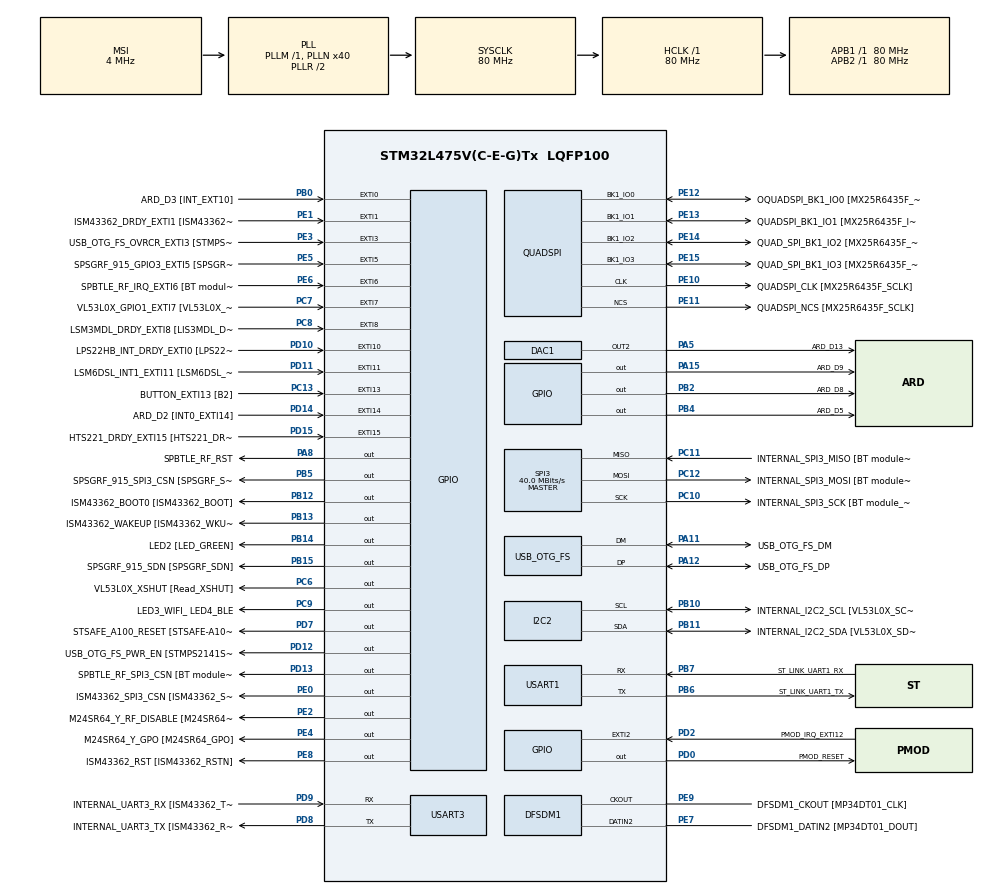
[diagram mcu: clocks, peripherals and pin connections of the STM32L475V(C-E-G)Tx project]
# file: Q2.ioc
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DAC1.DAC_Channel-DAC_OUT2=DAC_CHANNEL_2
DAC1.DAC_Trigger-DAC_OUT2=DAC_TRIGGER_NONE
Dma.Request0=USART1_TX
Dma.USART1_TX.0.Direction=DMA_MEMORY_TO_PERIPH
Dma.USART1_TX.0.Instance=DMA1_Channel4
Dma.USART1_TX.0.MemDataAlignment=DMA_MDATAALIGN_BYTE
Dma.USART1_TX.0.MemInc=DMA_MINC_ENABLE
Dma.USART1_TX.0.Mode=DMA_NORMAL
Dma.USART1_TX.0.PeriphDataAlignment=DMA_PDATAALIGN_BYTE
Dma.USART1_TX.0.PeriphInc=DMA_PINC_DISABLE
Dma.USART1_TX.0.Priority=DMA_PRIORITY_LOW
I2C2.Timing=0x10909CEC
Mcu.Family=STM32L4
Mcu.Name=STM32L475V(C-E-G)Tx
Mcu.Package=LQFP100
NVIC.DMA1_Channel4_IRQn=true\:0\:0\:false\:false\:true\:false\:true
NVIC.EXTI15_10_IRQn=true\:0\:0\:false\:false\:true\:true\:true
NVIC.EXTI9_5_IRQn=true\:0\:0\:false\:false\:true\:true\:true
NVIC.PriorityGroup=NVIC_PRIORITYGROUP_4
NVIC.TIM2_IRQn=true\:0\:0\:false\:false\:true\:true\:true
NVIC.USART1_IRQn=true\:0\:0\:false\:false\:true\:true\:true
PA10.GPIO_Label=USB_OTG_FS_ID
PA10.Signal=USB_OTG_FS_ID
PA11.GPIO_Label=USB_OTG_FS_DM
PA11.Mode=Device_Only
PA11.Signal=USB_OTG_FS_DM
PA12.GPIO_Label=USB_OTG_FS_DP
PA12.Mode=Device_Only
PA12.Signal=USB_OTG_FS_DP
PA13\ (JTMS-SWDIO).GPIO_Label=SYS_JTMS_SWDIO
PA13\ (JTMS-SWDIO).Mode=Serial_Wire
PA13\ (JTMS-SWDIO).Signal=SYS_JTMS-SWDIO
PA14\ (JTCK-SWCLK).GPIO_Label=SYS_JTCK_SWCLK
PA14\ (JTCK-SWCLK).Mode=Serial_Wire
PA14\ (JTCK-SWCLK).Signal=SYS_JTCK-SWCLK
PA15\ (JTDI).GPIO_Label=ARD_D9
PA15\ (JTDI).Signal=GPIO_Output
PA3.GPIO_Label=ARD_D4
PA3.Signal=S_TIM2_CH4
PA4.GPIO_Label=ARD_D7
PA4.Signal=ADCx_IN9
PA5.GPIO_Label=ARD_D13
PA5.Signal=COMP_DAC12_group
PA8.GPIO_Label=SPBTLE_RF_RST
PA8.Signal=GPIO_Output
PB0.GPIO_Label=ARD_D3 [INT_EXT10]
PB0.Signal=GPXTI0
PB1.GPIO_Label=ARD_D6 [ADC1_IN6]
PB1.Signal=ADCx_IN16
PB10.GPIO_Label=INTERNAL_I2C2_SCL [VL53L0X_SCL]
PB10.Mode=I2C
PB10.Signal=I2C2_SCL
PB11.GPIO_Label=INTERNAL_I2C2_SDA [VL53L0X_SDA]
PB11.Mode=I2C
PB11.Signal=I2C2_SDA
PB12.GPIO_Label=ISM43362_BOOT0 [ISM43362_BOOT]
PB12.Signal=GPIO_Output
PB13.GPIO_Label=ISM43362_WAKEUP [ISM43362_WKUP]
PB13.Signal=GPIO_Output
PB14.GPIO_Label=LED2 [LED_GREEN]
PB14.Signal=GPIO_Output
PB15.GPIO_Label=SPSGRF_915_SDN [SPSGRF_SDN]
PB15.Signal=GPIO_Output
PB2.GPIO_Label=ARD_D8
PB2.Signal=GPIO_Output
PB3\ (JTDO-TRACESWO).GPIO_Label=SYS_JTD0_SWO
PB3\ (JTDO-TRACESWO).Signal=SYS_JTDO-SWO
PB4\ (NJTRST).GPIO_Label=ARD_D5
PB4\ (NJTRST).Signal=GPIO_Output
PB5.GPIO_Label=SPSGRF_915_SPI3_CSN [SPSGRF_SPI_CS]
PB5.PinState=GPIO_PIN_SET
PB5.Signal=GPIO_Output
PB6.GPIO_Label=ST_LINK_UART1_TX
PB6.Mode=Asynchronous
PB6.Signal=USART1_TX
PB7.GPIO_Label=ST_LINK_UART1_RX
PB7.Mode=Asynchronous
PB7.Signal=USART1_RX
PB8.GPIO_Label=ARD_D15 [I2C1_SCL]
PB8.Signal=I2C1_SCL
PB9.GPIO_Label=ARD_D14 [I2C1_SDA]
PB9.Signal=I2C1_SDA
PC0.GPIO_Label=ARD_A5 [ADC]
PC0.Signal=ADCx_IN1
PC1.GPIO_Label=ARD_A4 [ADC]
PC1.Signal=ADCx_IN2
PC10.GPIO_Label=INTERNAL_SPI3_SCK [BT module_SPI_SCLK] [ISM43362_SCK]
PC10.Mode=Full_Duplex_Master
PC10.Signal=SPI3_SCK
PC11.GPIO_Label=INTERNAL_SPI3_MISO [BT module_SPI_MISO] [ISM43362_MISO]
PC11.Mode=Full_Duplex_Master
PC11.Signal=SPI3_MISO
PC12.GPIO_Label=INTERNAL_SPI3_MOSI [BT module_SPI_MOSI] [ISM43362_MOSI]
PC12.Mode=Full_Duplex_Master
PC12.Signal=SPI3_MOSI
PC13.GPIO_Label=BUTTON_EXTI13 [B2]
PC13.GPIO_ModeDefaultEXTI=GPIO_MODE_IT_FALLING
PC13.Signal=GPXTI13
PC14-OSC32_IN\ (PC14).Mode=LSE-External-Oscillator
PC14-OSC32_IN\ (PC14).Signal=RCC_OSC32_IN
PC15-OSC32_OUT\ (PC15).Mode=LSE-External-Oscillator
PC15-OSC32_OUT\ (PC15).Signal=RCC_OSC32_OUT
PC2.GPIO_Label=ARD_A3 [ADC]
PC2.Signal=ADCx_IN3
PC3.GPIO_Label=ARD_A2 [ADC]
PC3.Signal=ADCx_IN4
PC4.GPIO_Label=ARD_A1 [ADC]
PC4.Signal=ADCx_IN13
PC5.GPIO_Label=ARD_A0 [ADC]
PC5.Signal=ADCx_IN14
PC6.GPIO_Label=VL53L0X_XSHUT [Read_XSHUT]
PC6.Signal=GPIO_Output
PC7.GPIO_Label=VL53L0X_GPIO1_EXTI7 [VL53L0X_GPIO1]
PC7.Signal=GPXTI7
PC8.GPIO_Label=LSM3MDL_DRDY_EXTI8 [LIS3MDL_DRDY]
PC8.Signal=GPXTI8
PC9.GPIO_Label=LED3_WIFI_ LED4_BLE
PC9.Signal=GPIO_Output
PD0.GPIO_Label=PMOD_RESET
PD0.Signal=GPIO_Output
PD1.GPIO_Label=PMOD_SPI2_SCK
PD1.Signal=SPI2_SCK
PD10.GPIO_Label=LPS22HB_INT_DRDY_EXTI0 [LPS22HB_INT_DRDY] 
PD10.Signal=GPXTI10
PD11.GPIO_Label=LSM6DSL_INT1_EXTI11 [LSM6DSL_INT1]
PD11.Signal=GPXTI11
PD12.GPIO_Label=USB_OTG_FS_PWR_EN [STMPS2141STR_EN]
PD12.Signal=GPIO_Output
PD13.GPIO_Label=SPBTLE_RF_SPI3_CSN [BT module_SPI_CS]
PD13.PinState=GPIO_PIN_SET
PD13.Signal=GPIO_Output
PD14.GPIO_Label=ARD_D2 [INT0_EXTI14]
PD14.Signal=GPXTI14
PD15.GPIO_Label=HTS221_DRDY_EXTI15 [HTS221_DRDY]
PD15.Signal=GPXTI15
PD2.GPIO_Label=PMOD_IRQ_EXTI12
PD2.Signal=GPXTI2
PD3.GPIO_Label=PMOD_UART2_CTS
PD3.Signal=USART2_CTS
PD4.GPIO_Label=PMOD_UART2_RTS
PD4.Signal=USART2_RTS
PD5.GPIO_Label=PMOD_UART2_TX
PD5.Signal=USART2_TX
PD6.GPIO_Label=PMOD_UART2_RX
PD6.Signal=USART2_RX
PD7.GPIO_Label=STSAFE_A100_RESET [STSAFE-A100_RESET]
PD7.Signal=GPIO_Output
PD8.GPIO_Label=INTERNAL_UART3_TX [ISM43362_RX]
PD8.Mode=Asynchronous
PD8.Signal=USART3_TX
PD9.GPIO_Label=INTERNAL_UART3_RX [ISM43362_TX]
PD9.Mode=Asynchronous
PD9.Signal=USART3_RX
PE0.GPIO_Label=ISM43362_SPI3_CSN [ISM43362_SSN]
PE0.PinState=GPIO_PIN_SET
PE0.Signal=GPIO_Output
PE1.GPIO_Label=ISM43362_DRDY_EXTI1 [ISM43362_DATARDY]
PE1.Signal=GPXTI1
PE10.GPIO_Label=QUADSPI_CLK [MX25R6435F_SCLK]
PE10.Mode=Single Bank
PE10.Signal=QUADSPI_CLK
PE11.GPIO_Label=QUADSPI_NCS [MX25R6435F_SCLK]
PE11.Mode=Single Bank
PE11.Signal=QUADSPI_NCS
PE12.GPIO_Label=OQUADSPI_BK1_IO0 [MX25R6435F_IO0]
PE12.Mode=Single Bank
PE12.Signal=QUADSPI_BK1_IO0
PE13.GPIO_Label=QUADSPI_BK1_IO1 [MX25R6435F_IO1]
PE13.Mode=Single Bank
PE13.Signal=QUADSPI_BK1_IO1
PE14.GPIO_Label=QUAD_SPI_BK1_IO2 [MX25R6435F_IO2]
PE14.Mode=Single Bank
PE14.Signal=QUADSPI_BK1_IO2
PE15.GPIO_Label=QUAD_SPI_BK1_IO3 [MX25R6435F_IO3]
PE15.Mode=Single Bank
PE15.Signal=QUADSPI_BK1_IO3
PE2.GPIO_Label=M24SR64_Y_RF_DISABLE [M24SR64_RFDIS]
PE2.Signal=GPIO_Output
PE3.GPIO_Label=USB_OTG_FS_OVRCR_EXTI3 [STMPS2141STR_FAULT]
PE3.Signal=GPXTI3
PE4.GPIO_Label=M24SR64_Y_GPO [M24SR64_GPO]
PE4.Signal=GPIO_Output
PE5.GPIO_Label=SPSGRF_915_GPIO3_EXTI5 [SPSGRF_GPIO_3]
PE5.Signal=GPXTI5
PE6.GPIO_Label=SPBTLE_RF_IRQ_EXTI6 [BT module_SPI_IRQ]
PE6.Signal=GPXTI6
PE7.GPIO_Label=DFSDM1_DATIN2 [MP34DT01_DOUT]
PE7.Signal=S_DATAIN2DFSDM1
PE8.GPIO_Label=ISM43362_RST [ISM43362_RSTN]
PE8.Signal=GPIO_Output
PE9.GPIO_Label=DFSDM1_CKOUT [MP34DT01_CLK]
PE9.Signal=S_CKOUTDFSDM1
ProjectManager.HeapSize=0x200
ProjectManager.StackSize=0x400
ProjectManager.TargetToolchain=STM32CubeIDE
RCC.ADCFreq_Value=48000000
RCC.AHBFreq_Value=80000000
RCC.APB1Freq_Value=80000000
RCC.APB1TimFreq_Value=80000000
RCC.APB2Freq_Value=80000000
RCC.APB2TimFreq_Value=80000000
RCC.CortexFreq_Value=80000000
RCC.HCLKFreq_Value=80000000
RCC.HSE_VALUE=8000000
RCC.HSI_VALUE=16000000
RCC.MSI_VALUE=4000000
RCC.PLLN=40
RCC.PLLSAI1N=24
RCC.SYSCLKFreq_VALUE=80000000
RCC.SYSCLKSource=RCC_SYSCLKSOURCE_PLLCLK
RCC.USBFreq_Value=48000000
RCC.VCOOutputFreq_Value=160000000
SH.ADCx_IN1.0=ADC1_IN1
SH.ADCx_IN13.0=ADC1_IN13
SH.ADCx_IN14.0=ADC1_IN14
SH.ADCx_IN16.0=ADC1_IN16
SH.ADCx_IN2.0=ADC1_IN2
SH.ADCx_IN3.0=ADC1_IN3
SH.ADCx_IN4.0=ADC1_IN4
SH.ADCx_IN9.0=ADC1_IN9
SH.COMP_DAC12_group.0=DAC1_OUT2,DAC_OUT2
SH.S_CKOUTDFSDM1.0=DFSDM1_CKOUT,CKOUT
SH.S_CKOUTDFSDM1.1=DFSDM1_CKOUT,PDM_SPI_Input_from_ch12_and_Internal_Clock
SH.S_DATAIN2DFSDM1.0=DFSDM1_DATIN2,PDM_SPI_Input_from_ch12_and_Internal_Clock
SH.S_TIM2_CH4.0=TIM2_CH4
SPI3.CalculateBaudRate=40.0 MBits/s
SPI3.Direction=SPI_DIRECTION_2LINES
SPI3.Mode=SPI_MODE_MASTER
SPI3.VirtualType=VM_MASTER
TIM2.Period=99
TIM2.Prescaler=80
TIM2.TIM_MasterOutputTrigger=TIM_TRGO_RESET
USART1.VirtualMode-Asynchronous=VM_ASYNC
USART3.VirtualMode-Asynchronous=VM_ASYNC
USB_OTG_FS.VirtualMode=Device_Only
VP_TIM2_VS_ClockSourceINT.Mode=Internal
board=B-L475E-IOT01A1

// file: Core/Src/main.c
/* USER CODE BEGIN Header */
/**
 * *****************************************************************************
 * Name: Jonathan Dean
 * Assignment: Quiz 2
 * Program Summary:
 * This program generates waveforms When a button is pressed (PC13),
 * the program switches between different waveforms. When pressed
 * it cycles between a sine wave, square wave, and triangle wave.
 * *****************************************************************************
  ******************************************************************************
  * @file           : main.c
  * @brief          : Main program body
  ******************************************************************************
  * @attention
  *
  * <h2><center>&copy; Copyright (c) 2020 STMicroelectronics.
  * All rights reserved.</center></h2>
  *
  * This software component is licensed by ST under BSD 3-Clause license,
  * the "License"; You may not use this file except in compliance with the
  * License. You may obtain a copy of the License at:
  *                        opensource.org/licenses/BSD-3-Clause
  *
  ******************************************************************************
  */
/* USER CODE END Header */
#include "main.h"

/* USER CODE BEGIN Includes */
#include <stdint.h>
#include "Time.h" // Custom Time Library"
#include "DBG_UART.h"
#include "Waveform_Generator.h"
/* USER CODE END Includes */

/* USER CODE BEGIN PD */
#define BUTTON_DEBOUNCE_TIME_MS MS(100)
/* USER CODE END PD */

DAC_HandleTypeDef hdac1;

DFSDM_Channel_HandleTypeDef hdfsdm1_channel1;

I2C_HandleTypeDef hi2c2;

QSPI_HandleTypeDef hqspi;

SPI_HandleTypeDef hspi3;

TIM_HandleTypeDef htim2;

UART_HandleTypeDef huart1;
UART_HandleTypeDef huart3;
DMA_HandleTypeDef hdma_usart1_tx;

PCD_HandleTypeDef hpcd_USB_OTG_FS;

void SystemClock_Config(void);
static void MX_GPIO_Init(void);
static void MX_DMA_Init(void);
static void MX_DFSDM1_Init(void);
static void MX_I2C2_Init(void);
static void MX_QUADSPI_Init(void);
static void MX_SPI3_Init(void);
static void MX_USART1_UART_Init(void);
static void MX_USART3_UART_Init(void);
static void MX_USB_OTG_FS_PCD_Init(void);
static void MX_DAC1_Init(void);
static void MX_TIM2_Init(void);

int main(void)
{

  /* MCU Configuration--------------------------------------------------------*/

  /* Reset of all peripherals, Initializes the Flash interface and the Systick. */
  HAL_Init();

  /* Configure the system clock */
  SystemClock_Config();

  /* USER CODE BEGIN SysInit */
  Time_Init(); // initialize timer
  /* USER CODE END SysInit */

  /* Initialize all configured peripherals */
  MX_GPIO_Init();
  MX_DMA_Init();
  MX_DFSDM1_Init();
  MX_I2C2_Init();
  MX_QUADSPI_Init();
  MX_SPI3_Init();
  MX_USART1_UART_Init();
  MX_USART3_UART_Init();
  MX_USB_OTG_FS_PCD_Init();
  MX_DAC1_Init();
  MX_TIM2_Init();
  /* USER CODE BEGIN 2 */
  DBG_UART_Init();

  printf("Hello\n");

  HAL_TIM_Base_Start_IT(&htim2);
  WG_Init();

  /* USER CODE END 2 */

  /* Infinite loop */
  while (1)
  {

  }
}

void SystemClock_Config(void)
{
  RCC_OscInitTypeDef RCC_OscInitStruct = {0};
  RCC_ClkInitTypeDef RCC_ClkInitStruct = {0};
  RCC_PeriphCLKInitTypeDef PeriphClkInit = {0};

  /** Configure LSE Drive Capability
  */
  HAL_PWR_EnableBkUpAccess();
  __HAL_RCC_LSEDRIVE_CONFIG(RCC_LSEDRIVE_LOW);
  /** Initializes the RCC Oscillators according to the specified parameters
  * in the RCC_OscInitTypeDef structure.
  */
  RCC_OscInitStruct.OscillatorType = RCC_OSCILLATORTYPE_LSE|RCC_OSCILLATORTYPE_MSI;
  RCC_OscInitStruct.LSEState = RCC_LSE_ON;
  RCC_OscInitStruct.MSIState = RCC_MSI_ON;
  RCC_OscInitStruct.MSICalibrationValue = 0;
  RCC_OscInitStruct.MSIClockRange = RCC_MSIRANGE_6;
  RCC_OscInitStruct.PLL.PLLState = RCC_PLL_ON;
  RCC_OscInitStruct.PLL.PLLSource = RCC_PLLSOURCE_MSI;
  RCC_OscInitStruct.PLL.PLLM = 1;
  RCC_OscInitStruct.PLL.PLLN = 40;
  RCC_OscInitStruct.PLL.PLLP = RCC_PLLP_DIV7;
  RCC_OscInitStruct.PLL.PLLQ = RCC_PLLQ_DIV2;
  RCC_OscInitStruct.PLL.PLLR = RCC_PLLR_DIV2;
  if (HAL_RCC_OscConfig(&RCC_OscInitStruct) != HAL_OK)
  {
    Error_Handler();
  }
  /** Initializes the CPU, AHB and APB buses clocks
  */
  RCC_ClkInitStruct.ClockType = RCC_CLOCKTYPE_HCLK|RCC_CLOCKTYPE_SYSCLK
                              |RCC_CLOCKTYPE_PCLK1|RCC_CLOCKTYPE_PCLK2;
  RCC_ClkInitStruct.SYSCLKSource = RCC_SYSCLKSOURCE_PLLCLK;
  RCC_ClkInitStruct.AHBCLKDivider = RCC_SYSCLK_DIV1;
  RCC_ClkInitStruct.APB1CLKDivider = RCC_HCLK_DIV1;
  RCC_ClkInitStruct.APB2CLKDivider = RCC_HCLK_DIV1;

  if (HAL_RCC_ClockConfig(&RCC_ClkInitStruct, FLASH_LATENCY_4) != HAL_OK)
  {
    Error_Handler();
  }
  PeriphClkInit.PeriphClockSelection = RCC_PERIPHCLK_USART1|RCC_PERIPHCLK_USART3
                              |RCC_PERIPHCLK_I2C2|RCC_PERIPHCLK_DFSDM1
                              |RCC_PERIPHCLK_USB;
  PeriphClkInit.Usart1ClockSelection = RCC_USART1CLKSOURCE_PCLK2;
  PeriphClkInit.Usart3ClockSelection = RCC_USART3CLKSOURCE_PCLK1;
  PeriphClkInit.I2c2ClockSelection = RCC_I2C2CLKSOURCE_PCLK1;
  PeriphClkInit.Dfsdm1ClockSelection = RCC_DFSDM1CLKSOURCE_PCLK;
  PeriphClkInit.UsbClockSelection = RCC_USBCLKSOURCE_PLLSAI1;
  PeriphClkInit.PLLSAI1.PLLSAI1Source = RCC_PLLSOURCE_MSI;
  PeriphClkInit.PLLSAI1.PLLSAI1M = 1;
  PeriphClkInit.PLLSAI1.PLLSAI1N = 24;
  PeriphClkInit.PLLSAI1.PLLSAI1P = RCC_PLLP_DIV7;
  PeriphClkInit.PLLSAI1.PLLSAI1Q = RCC_PLLQ_DIV2;
  PeriphClkInit.PLLSAI1.PLLSAI1R = RCC_PLLR_DIV2;
  PeriphClkInit.PLLSAI1.PLLSAI1ClockOut = RCC_PLLSAI1_48M2CLK;
  if (HAL_RCCEx_PeriphCLKConfig(&PeriphClkInit) != HAL_OK)
  {
    Error_Handler();
  }
  /** Configure the main internal regulator output voltage
  */
  if (HAL_PWREx_ControlVoltageScaling(PWR_REGULATOR_VOLTAGE_SCALE1) != HAL_OK)
  {
    Error_Handler();
  }
  /** Enable MSI Auto calibration
  */
  HAL_RCCEx_EnableMSIPLLMode();
}

static void MX_DAC1_Init(void)
{

  DAC_ChannelConfTypeDef sConfig = {0};

  /** DAC Initialization
  */
  hdac1.Instance = DAC1;
  if (HAL_DAC_Init(&hdac1) != HAL_OK)
  {
    Error_Handler();
  }
  /** DAC channel OUT2 config
  */
  sConfig.DAC_SampleAndHold = DAC_SAMPLEANDHOLD_DISABLE;
  sConfig.DAC_Trigger = DAC_TRIGGER_NONE;
  sConfig.DAC_OutputBuffer = DAC_OUTPUTBUFFER_ENABLE;
  sConfig.DAC_ConnectOnChipPeripheral = DAC_CHIPCONNECT_DISABLE;
  sConfig.DAC_UserTrimming = DAC_TRIMMING_FACTORY;
  if (HAL_DAC_ConfigChannel(&hdac1, &sConfig, DAC_CHANNEL_2) != HAL_OK)
  {
    Error_Handler();
  }

}

static void MX_DFSDM1_Init(void)
{

  hdfsdm1_channel1.Instance = DFSDM1_Channel1;
  hdfsdm1_channel1.Init.OutputClock.Activation = ENABLE;
  hdfsdm1_channel1.Init.OutputClock.Selection = DFSDM_CHANNEL_OUTPUT_CLOCK_SYSTEM;
  hdfsdm1_channel1.Init.OutputClock.Divider = 2;
  hdfsdm1_channel1.Init.Input.Multiplexer = DFSDM_CHANNEL_EXTERNAL_INPUTS;
  hdfsdm1_channel1.Init.Input.DataPacking = DFSDM_CHANNEL_STANDARD_MODE;
  hdfsdm1_channel1.Init.Input.Pins = DFSDM_CHANNEL_FOLLOWING_CHANNEL_PINS;
  hdfsdm1_channel1.Init.SerialInterface.Type = DFSDM_CHANNEL_SPI_RISING;
  hdfsdm1_channel1.Init.SerialInterface.SpiClock = DFSDM_CHANNEL_SPI_CLOCK_INTERNAL;
  hdfsdm1_channel1.Init.Awd.FilterOrder = DFSDM_CHANNEL_FASTSINC_ORDER;
  hdfsdm1_channel1.Init.Awd.Oversampling = 1;
  hdfsdm1_channel1.Init.Offset = 0;
  hdfsdm1_channel1.Init.RightBitShift = 0x00;
  if (HAL_DFSDM_ChannelInit(&hdfsdm1_channel1) != HAL_OK)
  {
    Error_Handler();
  }

}

static void MX_I2C2_Init(void)
{

  hi2c2.Instance = I2C2;
  hi2c2.Init.Timing = 0x10909CEC;
  hi2c2.Init.OwnAddress1 = 0;
  hi2c2.Init.AddressingMode = I2C_ADDRESSINGMODE_7BIT;
  hi2c2.Init.DualAddressMode = I2C_DUALADDRESS_DISABLE;
  hi2c2.Init.OwnAddress2 = 0;
  hi2c2.Init.OwnAddress2Masks = I2C_OA2_NOMASK;
  hi2c2.Init.GeneralCallMode = I2C_GENERALCALL_DISABLE;
  hi2c2.Init.NoStretchMode = I2C_NOSTRETCH_DISABLE;
  if (HAL_I2C_Init(&hi2c2) != HAL_OK)
  {
    Error_Handler();
  }
  /** Configure Analogue filter
  */
  if (HAL_I2CEx_ConfigAnalogFilter(&hi2c2, I2C_ANALOGFILTER_ENABLE) != HAL_OK)
  {
    Error_Handler();
  }
  /** Configure Digital filter
  */
  if (HAL_I2CEx_ConfigDigitalFilter(&hi2c2, 0) != HAL_OK)
  {
    Error_Handler();
  }

}

static void MX_QUADSPI_Init(void)
{

  /* QUADSPI parameter configuration*/
  hqspi.Instance = QUADSPI;
  hqspi.Init.ClockPrescaler = 255;
  hqspi.Init.FifoThreshold = 1;
  hqspi.Init.SampleShifting = QSPI_SAMPLE_SHIFTING_NONE;
  hqspi.Init.FlashSize = 1;
  hqspi.Init.ChipSelectHighTime = QSPI_CS_HIGH_TIME_1_CYCLE;
  hqspi.Init.ClockMode = QSPI_CLOCK_MODE_0;
  if (HAL_QSPI_Init(&hqspi) != HAL_OK)
  {
    Error_Handler();
  }

}

static void MX_SPI3_Init(void)
{

  /* SPI3 parameter configuration*/
  hspi3.Instance = SPI3;
  hspi3.Init.Mode = SPI_MODE_MASTER;
  hspi3.Init.Direction = SPI_DIRECTION_2LINES;
  hspi3.Init.DataSize = SPI_DATASIZE_4BIT;
  hspi3.Init.CLKPolarity = SPI_POLARITY_LOW;
  hspi3.Init.CLKPhase = SPI_PHASE_1EDGE;
  hspi3.Init.NSS = SPI_NSS_SOFT;
  hspi3.Init.BaudRatePrescaler = SPI_BAUDRATEPRESCALER_2;
  hspi3.Init.FirstBit = SPI_FIRSTBIT_MSB;
  hspi3.Init.TIMode = SPI_TIMODE_DISABLE;
  hspi3.Init.CRCCalculation = SPI_CRCCALCULATION_DISABLE;
  hspi3.Init.CRCPolynomial = 7;
  hspi3.Init.CRCLength = SPI_CRC_LENGTH_DATASIZE;
  hspi3.Init.NSSPMode = SPI_NSS_PULSE_ENABLE;
  if (HAL_SPI_Init(&hspi3) != HAL_OK)
  {
    Error_Handler();
  }

}

static void MX_TIM2_Init(void)
{

  TIM_ClockConfigTypeDef sClockSourceConfig = {0};
  TIM_MasterConfigTypeDef sMasterConfig = {0};

  htim2.Instance = TIM2;
  htim2.Init.Prescaler = 80;
  htim2.Init.CounterMode = TIM_COUNTERMODE_UP;
  htim2.Init.Period = 99;
  htim2.Init.ClockDivision = TIM_CLOCKDIVISION_DIV1;
  htim2.Init.AutoReloadPreload = TIM_AUTORELOAD_PRELOAD_DISABLE;
  if (HAL_TIM_Base_Init(&htim2) != HAL_OK)
  {
    Error_Handler();
  }
  sClockSourceConfig.ClockSource = TIM_CLOCKSOURCE_INTERNAL;
  if (HAL_TIM_ConfigClockSource(&htim2, &sClockSourceConfig) != HAL_OK)
  {
    Error_Handler();
  }
  sMasterConfig.MasterOutputTrigger = TIM_TRGO_RESET;
  sMasterConfig.MasterSlaveMode = TIM_MASTERSLAVEMODE_DISABLE;
  if (HAL_TIMEx_MasterConfigSynchronization(&htim2, &sMasterConfig) != HAL_OK)
  {
    Error_Handler();
  }

}

static void MX_USART1_UART_Init(void)
{

  huart1.Instance = USART1;
  huart1.Init.BaudRate = 115200;
  huart1.Init.WordLength = UART_WORDLENGTH_8B;
  huart1.Init.StopBits = UART_STOPBITS_1;
  huart1.Init.Parity = UART_PARITY_NONE;
  huart1.Init.Mode = UART_MODE_TX_RX;
  huart1.Init.HwFlowCtl = UART_HWCONTROL_NONE;
  huart1.Init.OverSampling = UART_OVERSAMPLING_16;
  huart1.Init.OneBitSampling = UART_ONE_BIT_SAMPLE_DISABLE;
  huart1.AdvancedInit.AdvFeatureInit = UART_ADVFEATURE_NO_INIT;
  if (HAL_UART_Init(&huart1) != HAL_OK)
  {
    Error_Handler();
  }

}

static void MX_USART3_UART_Init(void)
{

  huart3.Instance = USART3;
  huart3.Init.BaudRate = 115200;
  huart3.Init.WordLength = UART_WORDLENGTH_8B;
  huart3.Init.StopBits = UART_STOPBITS_1;
  huart3.Init.Parity = UART_PARITY_NONE;
  huart3.Init.Mode = UART_MODE_TX_RX;
  huart3.Init.HwFlowCtl = UART_HWCONTROL_NONE;
  huart3.Init.OverSampling = UART_OVERSAMPLING_16;
  huart3.Init.OneBitSampling = UART_ONE_BIT_SAMPLE_DISABLE;
  huart3.AdvancedInit.AdvFeatureInit = UART_ADVFEATURE_NO_INIT;
  if (HAL_UART_Init(&huart3) != HAL_OK)
  {
    Error_Handler();
  }

}

static void MX_USB_OTG_FS_PCD_Init(void)
{

  hpcd_USB_OTG_FS.Instance = USB_OTG_FS;
  hpcd_USB_OTG_FS.Init.dev_endpoints = 6;
  hpcd_USB_OTG_FS.Init.speed = PCD_SPEED_FULL;
  hpcd_USB_OTG_FS.Init.phy_itface = PCD_PHY_EMBEDDED;
  hpcd_USB_OTG_FS.Init.Sof_enable = DISABLE;
  hpcd_USB_OTG_FS.Init.low_power_enable = DISABLE;
  hpcd_USB_OTG_FS.Init.lpm_enable = DISABLE;
  hpcd_USB_OTG_FS.Init.battery_charging_enable = DISABLE;
  hpcd_USB_OTG_FS.Init.use_dedicated_ep1 = DISABLE;
  hpcd_USB_OTG_FS.Init.vbus_sensing_enable = DISABLE;
  if (HAL_PCD_Init(&hpcd_USB_OTG_FS) != HAL_OK)
  {
    Error_Handler();
  }

}

static void MX_DMA_Init(void)
{

  /* DMA controller clock enable */
  __HAL_RCC_DMA1_CLK_ENABLE();

  /* DMA interrupt init */
  /* DMA1_Channel4_IRQn interrupt configuration */
  HAL_NVIC_SetPriority(DMA1_Channel4_IRQn, 0, 0);
  HAL_NVIC_EnableIRQ(DMA1_Channel4_IRQn);

}

static void MX_GPIO_Init(void)
{
  GPIO_InitTypeDef GPIO_InitStruct = {0};

  /* GPIO Ports Clock Enable */
  __HAL_RCC_GPIOE_CLK_ENABLE();
  __HAL_RCC_GPIOC_CLK_ENABLE();
  __HAL_RCC_GPIOH_CLK_ENABLE();
  __HAL_RCC_GPIOA_CLK_ENABLE();
  __HAL_RCC_GPIOB_CLK_ENABLE();
  __HAL_RCC_GPIOD_CLK_ENABLE();

  /*Configure GPIO pin Output Level */
  HAL_GPIO_WritePin(GPIOE, M24SR64_Y_RF_DISABLE_Pin|M24SR64_Y_GPO_Pin|ISM43362_RST_Pin, GPIO_PIN_RESET);

  /*Configure GPIO pin Output Level */
  HAL_GPIO_WritePin(GPIOB, ARD_D8_Pin|ISM43362_BOOT0_Pin|ISM43362_WAKEUP_Pin|LED2_Pin
                          |SPSGRF_915_SDN_Pin|ARD_D5_Pin, GPIO_PIN_RESET);

  /*Configure GPIO pin Output Level */
  HAL_GPIO_WritePin(GPIOD, USB_OTG_FS_PWR_EN_Pin|PMOD_RESET_Pin|STSAFE_A100_RESET_Pin, GPIO_PIN_RESET);

  /*Configure GPIO pin Output Level */
  HAL_GPIO_WritePin(SPBTLE_RF_SPI3_CSN_GPIO_Port, SPBTLE_RF_SPI3_CSN_Pin, GPIO_PIN_SET);

  /*Configure GPIO pin Output Level */
  HAL_GPIO_WritePin(GPIOC, VL53L0X_XSHUT_Pin|LED3_WIFI__LED4_BLE_Pin, GPIO_PIN_RESET);

  /*Configure GPIO pin Output Level */
  HAL_GPIO_WritePin(GPIOA, SPBTLE_RF_RST_Pin|ARD_D9_Pin, GPIO_PIN_RESET);

  /*Configure GPIO pin Output Level */
  HAL_GPIO_WritePin(SPSGRF_915_SPI3_CSN_GPIO_Port, SPSGRF_915_SPI3_CSN_Pin, GPIO_PIN_SET);

  /*Configure GPIO pin Output Level */
  HAL_GPIO_WritePin(ISM43362_SPI3_CSN_GPIO_Port, ISM43362_SPI3_CSN_Pin, GPIO_PIN_SET);

  /*Configure GPIO pins : M24SR64_Y_RF_DISABLE_Pin M24SR64_Y_GPO_Pin ISM43362_RST_Pin ISM43362_SPI3_CSN_Pin */
  GPIO_InitStruct.Pin = M24SR64_Y_RF_DISABLE_Pin|M24SR64_Y_GPO_Pin|ISM43362_RST_Pin|ISM43362_SPI3_CSN_Pin;
  GPIO_InitStruct.Mode = GPIO_MODE_OUTPUT_PP;
  GPIO_InitStruct.Pull = GPIO_NOPULL;
  GPIO_InitStruct.Speed = GPIO_SPEED_FREQ_LOW;
  HAL_GPIO_Init(GPIOE, &GPIO_InitStruct);

  /*Configure GPIO pins : USB_OTG_FS_OVRCR_EXTI3_Pin SPSGRF_915_GPIO3_EXTI5_Pin SPBTLE_RF_IRQ_EXTI6_Pin ISM43362_DRDY_EXTI1_Pin */
  GPIO_InitStruct.Pin = USB_OTG_FS_OVRCR_EXTI3_Pin|SPSGRF_915_GPIO3_EXTI5_Pin|SPBTLE_RF_IRQ_EXTI6_Pin|ISM43362_DRDY_EXTI1_Pin;
  GPIO_InitStruct.Mode = GPIO_MODE_IT_RISING;
  GPIO_InitStruct.Pull = GPIO_NOPULL;
  HAL_GPIO_Init(GPIOE, &GPIO_InitStruct);

  /*Configure GPIO pin : BUTTON_EXTI13_Pin */
  GPIO_InitStruct.Pin = BUTTON_EXTI13_Pin;
  GPIO_InitStruct.Mode = GPIO_MODE_IT_FALLING;
  GPIO_InitStruct.Pull = GPIO_NOPULL;
  HAL_GPIO_Init(BUTTON_EXTI13_GPIO_Port, &GPIO_InitStruct);

  /*Configure GPIO pins : PH0 PH1 */
  GPIO_InitStruct.Pin = GPIO_PIN_0|GPIO_PIN_1;
  GPIO_InitStruct.Mode = GPIO_MODE_ANALOG;
  GPIO_InitStruct.Pull = GPIO_NOPULL;
  HAL_GPIO_Init(GPIOH, &GPIO_InitStruct);

  /*Configure GPIO pins : ARD_A5_Pin ARD_A4_Pin ARD_A3_Pin ARD_A2_Pin
                           ARD_A1_Pin ARD_A0_Pin */
  GPIO_InitStruct.Pin = ARD_A5_Pin|ARD_A4_Pin|ARD_A3_Pin|ARD_A2_Pin
                          |ARD_A1_Pin|ARD_A0_Pin;
  GPIO_InitStruct.Mode = GPIO_MODE_ANALOG_ADC_CONTROL;
  GPIO_InitStruct.Pull = GPIO_NOPULL;
  HAL_GPIO_Init(GPIOC, &GPIO_InitStruct);

  /*Configure GPIO pins : PA0 PA1 PA2 PA6
                           PA7 PA9 */
  GPIO_InitStruct.Pin = GPIO_PIN_0|GPIO_PIN_1|GPIO_PIN_2|GPIO_PIN_6
                          |GPIO_PIN_7|GPIO_PIN_9;
  GPIO_InitStruct.Mode = GPIO_MODE_ANALOG;
  GPIO_InitStruct.Pull = GPIO_NOPULL;
  HAL_GPIO_Init(GPIOA, &GPIO_InitStruct);

  /*Configure GPIO pin : ARD_D7_Pin */
  GPIO_InitStruct.Pin = ARD_D7_Pin;
  GPIO_InitStruct.Mode = GPIO_MODE_ANALOG_ADC_CONTROL;
  GPIO_InitStruct.Pull = GPIO_NOPULL;
  HAL_GPIO_Init(ARD_D7_GPIO_Port, &GPIO_InitStruct);

  /*Configure GPIO pin : ARD_D3_Pin */
  GPIO_InitStruct.Pin = ARD_D3_Pin;
  GPIO_InitStruct.Mode = GPIO_MODE_IT_RISING;
  GPIO_InitStruct.Pull = GPIO_NOPULL;
  HAL_GPIO_Init(ARD_D3_GPIO_Port, &GPIO_InitStruct);

  /*Configure GPIO pin : ARD_D6_Pin */
  GPIO_InitStruct.Pin = ARD_D6_Pin;
  GPIO_InitStruct.Mode = GPIO_MODE_ANALOG_ADC_CONTROL;
  GPIO_InitStruct.Pull = GPIO_NOPULL;
  HAL_GPIO_Init(ARD_D6_GPIO_Port, &GPIO_InitStruct);

  /*Configure GPIO pins : ARD_D8_Pin ISM43362_BOOT0_Pin ISM43362_WAKEUP_Pin LED2_Pin
                           SPSGRF_915_SDN_Pin ARD_D5_Pin SPSGRF_915_SPI3_CSN_Pin */
  GPIO_InitStruct.Pin = ARD_D8_Pin|ISM43362_BOOT0_Pin|ISM43362_WAKEUP_Pin|LED2_Pin
                          |SPSGRF_915_SDN_Pin|ARD_D5_Pin|SPSGRF_915_SPI3_CSN_Pin;
  GPIO_InitStruct.Mode = GPIO_MODE_OUTPUT_PP;
  GPIO_InitStruct.Pull = GPIO_NOPULL;
  GPIO_InitStruct.Speed = GPIO_SPEED_FREQ_LOW;
  HAL_GPIO_Init(GPIOB, &GPIO_InitStruct);

  /*Configure GPIO pins : LPS22HB_INT_DRDY_EXTI0_Pin LSM6DSL_INT1_EXTI11_Pin ARD_D2_Pin HTS221_DRDY_EXTI15_Pin
                           PMOD_IRQ_EXTI12_Pin */
  GPIO_InitStruct.Pin = LPS22HB_INT_DRDY_EXTI0_Pin|LSM6DSL_INT1_EXTI11_Pin|ARD_D2_Pin|HTS221_DRDY_EXTI15_Pin
                          |PMOD_IRQ_EXTI12_Pin;
  GPIO_InitStruct.Mode = GPIO_MODE_IT_RISING;
  GPIO_InitStruct.Pull = GPIO_NOPULL;
  HAL_GPIO_Init(GPIOD, &GPIO_InitStruct);

  /*Configure GPIO pins : USB_OTG_FS_PWR_EN_Pin SPBTLE_RF_SPI3_CSN_Pin PMOD_RESET_Pin STSAFE_A100_RESET_Pin */
  GPIO_InitStruct.Pin = USB_OTG_FS_PWR_EN_Pin|SPBTLE_RF_SPI3_CSN_Pin|PMOD_RESET_Pin|STSAFE_A100_RESET_Pin;
  GPIO_InitStruct.Mode = GPIO_MODE_OUTPUT_PP;
  GPIO_InitStruct.Pull = GPIO_NOPULL;
  GPIO_InitStruct.Speed = GPIO_SPEED_FREQ_LOW;
  HAL_GPIO_Init(GPIOD, &GPIO_InitStruct);

  /*Configure GPIO pins : VL53L0X_XSHUT_Pin LED3_WIFI__LED4_BLE_Pin */
  GPIO_InitStruct.Pin = VL53L0X_XSHUT_Pin|LED3_WIFI__LED4_BLE_Pin;
  GPIO_InitStruct.Mode = GPIO_MODE_OUTPUT_PP;
  GPIO_InitStruct.Pull = GPIO_NOPULL;
  GPIO_InitStruct.Speed = GPIO_SPEED_FREQ_LOW;
  HAL_GPIO_Init(GPIOC, &GPIO_InitStruct);

  /*Configure GPIO pins : VL53L0X_GPIO1_EXTI7_Pin LSM3MDL_DRDY_EXTI8_Pin */
  GPIO_InitStruct.Pin = VL53L0X_GPIO1_EXTI7_Pin|LSM3MDL_DRDY_EXTI8_Pin;
  GPIO_InitStruct.Mode = GPIO_MODE_IT_RISING;
  GPIO_InitStruct.Pull = GPIO_NOPULL;
  HAL_GPIO_Init(GPIOC, &GPIO_InitStruct);

  /*Configure GPIO pins : SPBTLE_RF_RST_Pin ARD_D9_Pin */
  GPIO_InitStruct.Pin = SPBTLE_RF_RST_Pin|ARD_D9_Pin;
  GPIO_InitStruct.Mode = GPIO_MODE_OUTPUT_PP;
  GPIO_InitStruct.Pull = GPIO_NOPULL;
  GPIO_InitStruct.Speed = GPIO_SPEED_FREQ_LOW;
  HAL_GPIO_Init(GPIOA, &GPIO_InitStruct);

  /*Configure GPIO pin : PMOD_SPI2_SCK_Pin */
  GPIO_InitStruct.Pin = PMOD_SPI2_SCK_Pin;
  GPIO_InitStruct.Mode = GPIO_MODE_AF_PP;
  GPIO_InitStruct.Pull = GPIO_NOPULL;
  GPIO_InitStruct.Speed = GPIO_SPEED_FREQ_VERY_HIGH;
  GPIO_InitStruct.Alternate = GPIO_AF5_SPI2;
  HAL_GPIO_Init(PMOD_SPI2_SCK_GPIO_Port, &GPIO_InitStruct);

  /*Configure GPIO pins : PMOD_UART2_CTS_Pin PMOD_UART2_RTS_Pin PMOD_UART2_TX_Pin PMOD_UART2_RX_Pin */
  GPIO_InitStruct.Pin = PMOD_UART2_CTS_Pin|PMOD_UART2_RTS_Pin|PMOD_UART2_TX_Pin|PMOD_UART2_RX_Pin;
  GPIO_InitStruct.Mode = GPIO_MODE_AF_PP;
  GPIO_InitStruct.Pull = GPIO_NOPULL;
  GPIO_InitStruct.Speed = GPIO_SPEED_FREQ_VERY_HIGH;
  GPIO_InitStruct.Alternate = GPIO_AF7_USART2;
  HAL_GPIO_Init(GPIOD, &GPIO_InitStruct);

  /*Configure GPIO pins : ARD_D15_Pin ARD_D14_Pin */
  GPIO_InitStruct.Pin = ARD_D15_Pin|ARD_D14_Pin;
  GPIO_InitStruct.Mode = GPIO_MODE_AF_OD;
  GPIO_InitStruct.Pull = GPIO_PULLUP;
  GPIO_InitStruct.Speed = GPIO_SPEED_FREQ_VERY_HIGH;
  GPIO_InitStruct.Alternate = GPIO_AF4_I2C1;
  HAL_GPIO_Init(GPIOB, &GPIO_InitStruct);

  /* EXTI interrupt init*/
  HAL_NVIC_SetPriority(EXTI9_5_IRQn, 0, 0);
  HAL_NVIC_EnableIRQ(EXTI9_5_IRQn);

  HAL_NVIC_SetPriority(EXTI15_10_IRQn, 0, 0);
  HAL_NVIC_EnableIRQ(EXTI15_10_IRQn);

}

/* USER CODE BEGIN 4 */

void HAL_TIM_PeriodElapsedCallback(TIM_HandleTypeDef *htim)
{
	WG_Timer_Callback();
}

Tick button_debounce_time = 0; // exti13
void HAL_GPIO_EXTI_Callback(uint16_t GPIO_Pin)
{
	switch (GPIO_Pin)
	{
		case (1<<13):
			if (GetTimeSince_ms(button_debounce_time) > BUTTON_DEBOUNCE_TIME_MS) // button debouncing
			{
				WG_Cycle_Waveform();
				button_debounce_time = GetTime_ms();
			}

			break;
		default:
			break;
	}
}
/* USER CODE END 4 */

void Error_Handler(void)
{
}

/************************ (C) COPYRIGHT STMicroelectronics *****END OF FILE****/
